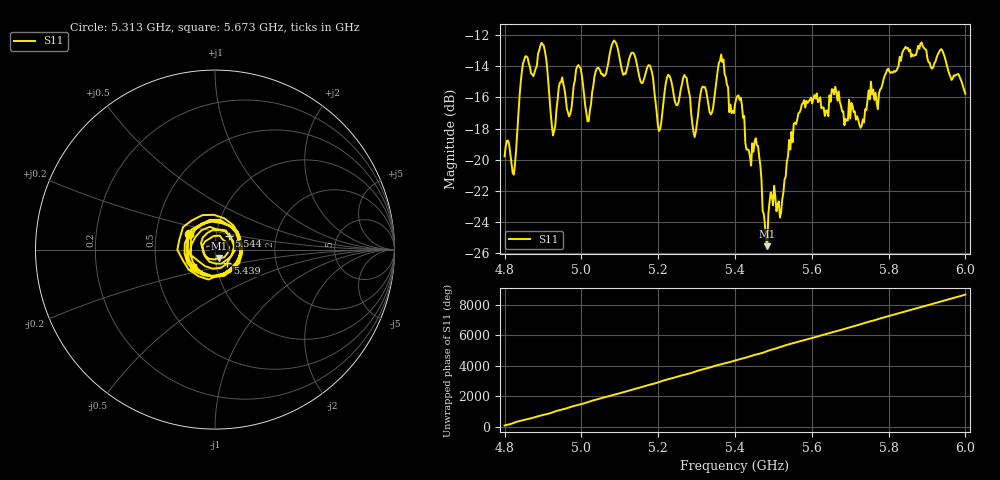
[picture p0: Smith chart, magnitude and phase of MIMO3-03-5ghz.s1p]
! NanoVNA-App
! Date: 2026-05-22 19:21:01
! Start: 4.8GHz Stop: 6GHz Points: 401
! S-Parameter data: F S11
# Hz S RI R 50
!  Frequency  S11_Real  S11_Imag
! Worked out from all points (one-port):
!   401 points, 4.8 GHz to 6 GHz, reference 50 ohm
!   lowest |S11| = -25.6 dB at 5.484 GHz (marker M1), VSWR 1.11, Z = 52.3 - j4.86 ohm
!   |S11| at or under -10 dB: start of sweep to end of sweep
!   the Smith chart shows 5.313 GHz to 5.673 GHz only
!   S11 on the Smith chart (normalised r, x): 5.313 GHz: 0.74, +0.13; 5.439 GHz: 1.14, -0.17; 5.544 GHz: 1.15, +0.18; 5.673 GHz: 0.77, -0.15
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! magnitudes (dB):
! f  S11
! 4.8 GHz  -19.8
! 4.824 GHz  -21.0
! 4.854 GHz  -13.4
! 4.902 GHz  -12.7
! 4.926 GHz  -18.4
! 4.95 GHz  -14.7
! 4.968 GHz  -17.2
! 4.995 GHz  -14.0
! 5.019 GHz  -17.5
! 5.1 GHz  -13.6
! 5.178 GHz  -13.9
! 5.202 GHz  -18.2
! 5.226 GHz  -14.5
! 5.25 GHz  -16.5
! 5.271 GHz  -14.7
! 5.295 GHz  -18.5
! 5.313 GHz  -15.4
! 5.364 GHz  -13.2
! 5.4 GHz  -16.5
! 5.439 GHz  -19.8
! 5.46 GHz  -19.1
! 5.484 GHz  -25.6
! 5.544 GHz  -19.4
! 5.55 GHz  -18.9
! 5.673 GHz  -16.3
! 5.7 GHz  -17.4
! 5.85 GHz  -12.8
! 6 GHz  -15.8
